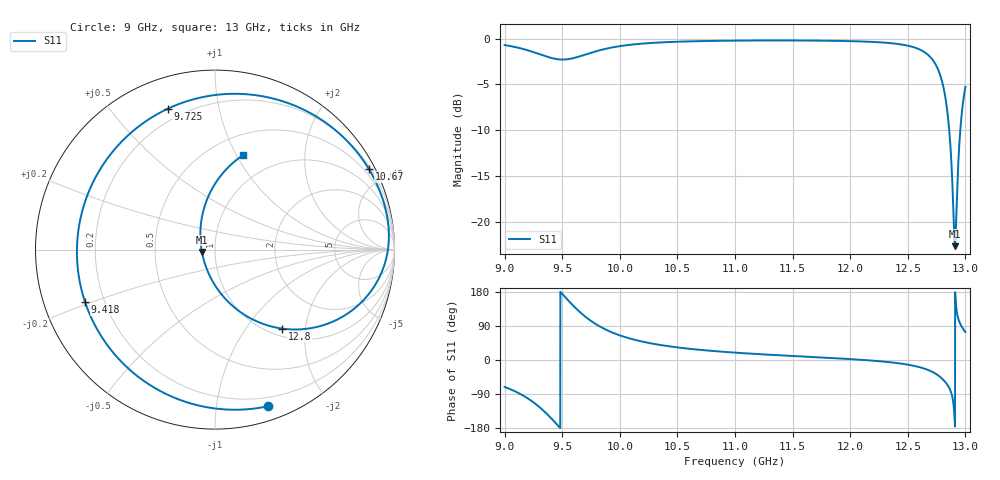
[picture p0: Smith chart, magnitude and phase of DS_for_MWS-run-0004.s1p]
! TOUCHSTONE file generated by CST DESIGN STUDIO
! Date and time: Tue Feb  4 18:25:13 2025
! Project name: C:\Work\MatlabApps\UnitCellOptimizationMatlab\CST\unitcell.cst
! Tree item: Tasks\Sweep1\SPara1\S-Parameters
! Header version: 2024
! Port assignment regex: !\s*Touchstone port\s*([0-9]+)\s*=\s*(CST MWS port|CST DES external port|CST DES block port)\s*(.+)\s* \(\"(.*)\"\)(\s*mode\s*([0-9]+))?.*
! Touchstone port assignment:
! Touchstone port 1 = CST DES external port 1 ("")
# GHz S MA R 50
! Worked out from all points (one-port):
!   4001 points, 9 GHz to 13 GHz, reference 50 ohm
!   lowest |S11| = -22.6 dB at 12.91 GHz (marker M1), VSWR 1.16, Z = 43.2 - j1.12 ohm
!   |S11| at or under -10 dB: 12.86 GHz to 12.96 GHz (95.75 MHz wide, 0.742 % of centre)
!   S11 on the Smith chart (normalised r, x): 9 GHz: 0.12, -1.39; 9.418 GHz: 0.13, -0.19; 9.725 GHz: 0.14, +0.71; 10.67 GHz: 0.29, +4.05; 12.8 GHz: 1.14, -1.51; 13 GHz: 0.71, +1.06
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9  0.9217 -71.2
9.134  0.8865 -89.3
9.236  0.8497 -108.5
9.326  0.8129 -130.6
9.418  0.7806 -158.1
9.5  0.7687 174.6
9.618  0.7888 136.6
9.725  0.8276 108.6
9.841  0.8687 86.1
10  0.9094 65.0
10.216  0.9411 47.2
10.5  0.9613 33.3
10.667  0.9676 27.6
11  0.9745 19.4
11.5  0.9765 10.6
12  0.9686 2.4
12.5  0.9148 -12.3
12.679  0.8124 -26.7
12.742  0.7225 -36.2
12.799  0.579 -49.5
12.854  0.3472 -70.7
12.873  0.2432 -83.0
12.897  0.1087 -117.5
12.909  0.07403 -170.0
12.922  0.1156 135.0
12.944  0.2461 103.7
12.96  0.3421 92.5
13  0.5466 73.6
